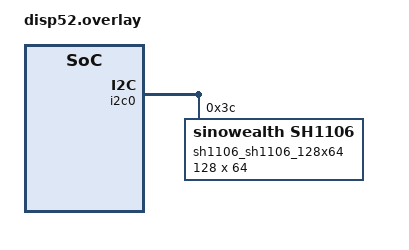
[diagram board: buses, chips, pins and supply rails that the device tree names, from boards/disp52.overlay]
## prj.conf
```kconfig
CONFIG_GPIO=y

CONFIG_I2C=y

# Logging system
CONFIG_LOG=y
CONFIG_UART_CONSOLE=y
CONFIG_I2C_LOG_LEVEL_DBG=y

# Display driver 
CONFIG_DISPLAY=y
CONFIG_HEAP_MEM_POOL_SIZE=4096
CONFIG_CFB_LOG_LEVEL_DBG=y
CONFIG_CHARACTER_FRAMEBUFFER=y
CONFIG_CHARACTER_FRAMEBUFFER_USE_DEFAULT_FONTS=y

#Shell  
CONFIG_SHELL=y
CONFIG_CHARACTER_FRAMEBUFFER_SHELL=y
```

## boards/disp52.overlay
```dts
// To get started, press Ctrl+Space to bring up the completion menu and view the available nodes.

// You can also use the buttons in the sidebar to perform actions on nodes.
// Actions currently available include:

// * Enabling / disabling the node
// * Adding the bus to a bus
// * Removing the node
// * Connecting ADC channels

// For more help, browse the DeviceTree documentation at https://docs.zephyrproject.org/latest/guides/dts/index.html
// You can also visit the nRF DeviceTree extension documentation at https://docs.nordicsemi.com/bundle/nrf-connect-vscode/page/guides/ncs_configure_app.html#devicetree-support-in-the-extension
/ {
	chosen {
		zephyr,display = &sh1106_sh1106_128x64;
	};
};


&i2c0 {

	sh1106_sh1106_128x64: ssd1106@3c {
		compatible = "sinowealth,sh1106";
		reg = <0x3c>;
		width = <128>;
		height = <64>;
		segment-offset = <2>;
		page-offset = <0>;
		display-offset = <0>;
		multiplex-ratio = <63>;
		segment-remap;
		com-invdir;
		prechargep = <0x22>;
	};
};
```

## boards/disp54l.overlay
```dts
// To get started, press Ctrl+Space to bring up the completion menu and view the available nodes.

// You can also use the buttons in the sidebar to perform actions on nodes.
// Actions currently available include:

// * Enabling / disabling the node
// * Adding the bus to a bus
// * Removing the node
// * Connecting ADC channels

// For more help, browse the DeviceTree documentation at https://docs.zephyrproject.org/latest/guides/dts/index.html
// You can also visit the nRF DeviceTree extension documentation at https://docs.nordicsemi.com/bundle/nrf-connect-vscode/page/guides/ncs_configure_app.html#devicetree-support-in-the-extension
/ {
	chosen {
		zephyr,display = &sh1106_sh1106_128x64;
		zephyr,console = &uart20;
	};
};


&i2c21 {
	status = "okay";
	zephyr,concat-buf-size=<1025>;
	pinctrl-0 = <&i2c21_default>;
	pinctrl-1 = <&i2c21_sleep>;
	pinctrl-names = "default", "sleep";

	sh1106_sh1106_128x64: ssd1106@3c {
		compatible = "sinowealth,sh1106";
		reg = <0x3c>;
		width = <128>;
		height = <64>;
		segment-offset = <2>;
		page-offset = <0>;
		display-offset = <0>;
		multiplex-ratio = <63>;
		segment-remap;
		com-invdir;
		prechargep = <0x22>;
	};
};


&pinctrl {
	/omit-if-no-ref/ i2c21_default: i2c21_default {
			group1 {
				psels = <NRF_PSEL(TWIM_SDA, 1, 10)>,
						<NRF_PSEL(TWIM_SCL, 1, 11)>;
			};
		};
	
	/omit-if-no-ref/ i2c21_sleep: i2c21_sleep {
			group1 {
				psels = <NRF_PSEL(TWIM_SDA, 1, 10)>,
						<NRF_PSEL(TWIM_SCL, 1, 11)>;
				low-power-enable;
			};
		};
	};
```

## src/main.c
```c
/*
 * Copyright (c) 2016 Intel Corporation
 *
 * SPDX-License-Identifier: Apache-2.0
 */

#include <stdio.h>
#include <zephyr/kernel.h>
#include <zephyr/drivers/gpio.h>
#include <zephyr/logging/log.h>
LOG_MODULE_REGISTER(main,LOG_LEVEL_DBG);

#include <zephyr/display/cfb.h>


/* 1000 msec = 1 sec */
#define SLEEP_TIME_MS   1000

/* The devicetree node identifier for the "led0" alias. */
#define LED0_NODE DT_ALIAS(led0)

/*
 * A build error on this line means your board is unsupported.
 * See the sample documentation for information on how to fix this.
 */
static const struct gpio_dt_spec led = GPIO_DT_SPEC_GET(LED0_NODE, gpios);

int main(void)
{
	int ret;
	bool led_state = true;

	if (!gpio_is_ready_dt(&led)) {
		return 0;
	}

	ret = gpio_pin_configure_dt(&led, GPIO_OUTPUT_ACTIVE);
	if (ret < 0) {
		return 0;
	}

	//Display stuff
	struct device *display; 
	display = (struct device *) DEVICE_DT_GET(DT_CHOSEN(zephyr_display));
	if (!device_is_ready(display)) {LOG_ERR("Display not Present");return (1);}

	if (cfb_framebuffer_init(display)) {LOG_ERR("Framebuffer initialization failed!\n");	return 1;}
	//cfb_framebuffer_invert(display);
	cfb_framebuffer_clear(display, true);


	cfb_framebuffer_set_font(display,0);
	cfb_print(display,"Hello",0,0);

	uint8_t x,y;
	cfb_get_font_size(display, 0, &x, &y);
	y--;
	cfb_framebuffer_set_font(display,1);
	cfb_print(display,"Line2",0,y);

	uint8_t off=y;
	cfb_get_font_size(display, 1, &x, &y);
	y--;
	cfb_framebuffer_set_font(display,2);
	cfb_print(display,"Line3",0,y+off);

	struct cfb_position st,en;

	st.x=80;
	st.y=0;
	en.x=128;
	en.y=64;
	cfb_draw_line(display,&st,&en);

	cfb_framebuffer_finalize(display);
    

	while (1) {
		ret = gpio_pin_toggle_dt(&led);
		if (ret < 0) {
			return 0;
		}

		led_state = !led_state;
		//printf("LED state: %s\n", led_state ? "ON" : "OFF");
		k_msleep(SLEEP_TIME_MS);
	}
	return 0;
}
```
